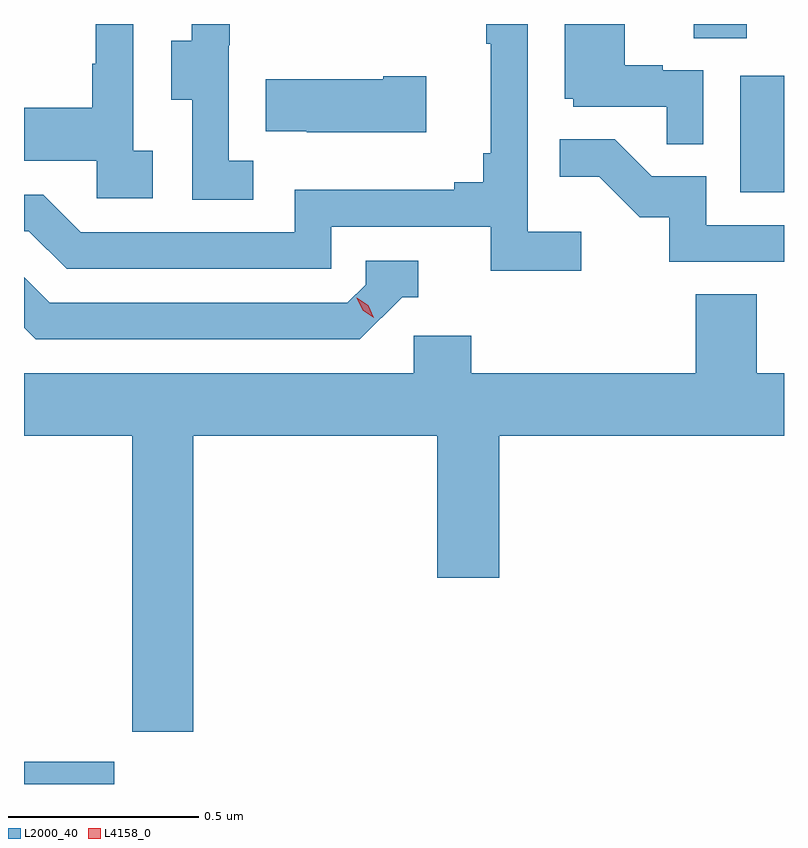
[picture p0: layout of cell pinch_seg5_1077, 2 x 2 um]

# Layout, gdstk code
import gdstk
lib = gdstk.Library(unit=1e-6, precision=1e-09)
def R(c, l, rs):  # rectangles x0, y0, x1, y1
    for r in rs: c.add(gdstk.rectangle(r[:2], r[2:], *l))
def P(c, l, *ps):  # polygons
    for p in ps: c.add(gdstk.Polygon(p, *l))
L2000_40 = (2000, 40)
L4158_0 = (4158, 0)

pinch_seg5_1077 = lib.new_cell('pinch_seg5_1077')
R(pinch_seg5_1077, L2000_40, [(871.213,854.511,871.45,854.569), (873.098,856.068,873.213,856.375), (872.975,856.474,873.115,856.511)])
P(pinch_seg5_1077, L2000_40, [(871.552,856.178),(871.5,856.178),(871.5,856.511),(871.402,856.511),(871.402,856.406),(871.392,856.406),(871.392,856.291),(871.213,856.291),(871.213,856.151),(871.404,856.151),(871.404,856.053),(871.552,856.053)],
  [(873,856.389),(872.894,856.389),(872.894,856.402),(872.794,856.402),(872.794,856.511),(872.636,856.511),(872.636,856.314),(872.658,856.314),(872.658,856.293),(872.905,856.293),(872.905,856.195),(873,856.195)],
  [(872.68,855.964),(872.538,855.964),(872.538,856.511),(872.43,856.511),(872.43,856.459),(872.441,856.459),(872.441,856.171),(872.422,856.171),(872.422,856.094),(872.345,856.094),(872.345,856.075),(871.926,856.075),(871.926,855.963),(871.362,855.963),(871.263,856.062),(871.213,856.062),(871.213,855.966),(871.226,855.966),(871.325,855.867),(872.022,855.867),(872.022,855.978),(872.441,855.978),(872.441,855.862),(872.68,855.862)],
  [(871.816,856.151),(871.752,856.151),(871.752,856.455),(871.754,856.455),(871.754,856.511),(871.655,856.511),(871.655,856.467),(871.601,856.467),(871.601,856.312),(871.656,856.312),(871.656,856.048),(871.816,856.048)],
  [(872.272,856.374),(872.159,856.374),(872.159,856.366),(871.849,856.366),(871.849,856.229),(871.957,856.229),(871.957,856.226),(872.272,856.226)],
  [(873.213,855.981),(873.009,855.981),(873.009,856.11),(872.865,856.11),(872.767,856.208),(872.623,856.208),(872.623,856.109),(872.727,856.109),(872.834,856.002),(872.911,856.002),(872.911,855.885),(873.213,855.885)],
  [(872.208,855.792),(872.251,855.792),(872.251,855.888),(872.112,855.888),(872.112,855.825),(872.064,855.777),(871.281,855.777),(871.213,855.845),(871.213,855.712),(871.244,855.681),(872.097,855.681)],
  [(871.658,855.428),(872.3,855.428),(872.3,855.054),(872.464,855.054),(872.464,855.428),(873.213,855.428),(873.213,855.592),(873.141,855.592),(873.141,855.8),(872.981,855.8),(872.981,855.592),(872.39,855.592),(872.39,855.69),(872.238,855.69),(872.238,855.592),(871.213,855.592),(871.213,855.428),(871.498,855.428),(871.498,854.649),(871.658,854.649)])
P(pinch_seg5_1077, L4158_0, [(872.134,855.738),(872.104,855.758),(872.088,855.791),(872.088,855.791),(872.089,855.791),(872.119,855.771),(872.134,855.738),(872.134,855.738)])

lib.write_gds('pinch_seg5_1077.gds')
